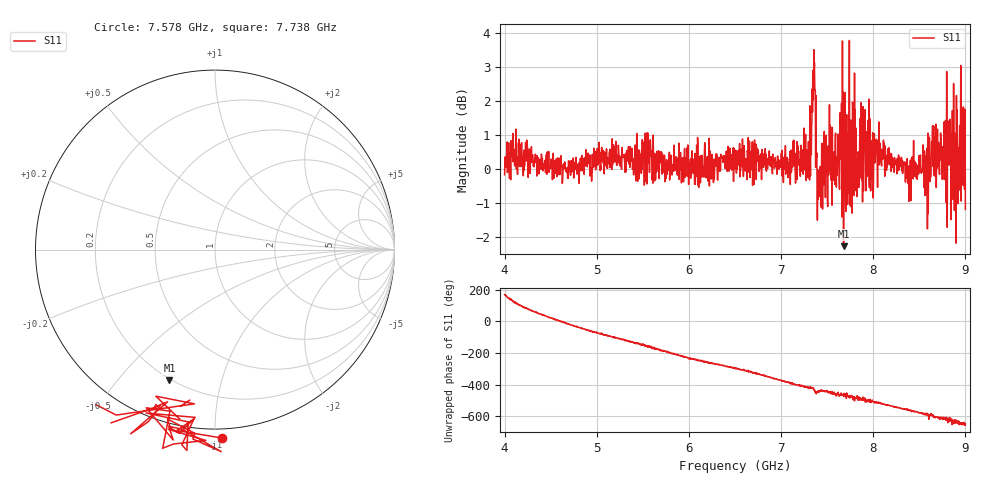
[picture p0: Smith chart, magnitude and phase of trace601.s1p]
! Created with skrf 1.8.0 (http://scikit-rf.org).
# Hz S RI R 50.0
!freq ReS11 ImS11
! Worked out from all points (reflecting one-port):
!   1601 points, 4 GHz to 9 GHz, reference 50 ohm
!   lowest |S11| = -2.3 dB at 7.678 GHz (marker M1), VSWR 7.73, Z = 9.65 - j34.6 ohm
!   phase of S11 starts at 170 deg and turns -818 deg over the sweep
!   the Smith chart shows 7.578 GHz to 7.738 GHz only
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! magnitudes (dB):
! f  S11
! 4 GHz  -0.2
! 4.1 GHz  0.6
! 4.625 GHz  -0.4
! 5.25 GHz  0.2
! 5.875 GHz  -0.2
! 6.5 GHz  0.0
! 7.125 GHz  0.1
! 7.294 GHz  -0.3
! 7.356 GHz  3.5
! 7.412 GHz  -0.6
! 7.512 GHz  0.7
! 7.575 GHz  0.5
! 7.662 GHz  -1.0
! 7.678 GHz  -2.3
! 7.75 GHz  -1.1
! 7.769 GHz  -0.4
! 7.8 GHz  -0.6
! 7.841 GHz  -0.5
! 7.928 GHz  0.9
! 7.981 GHz  -0.3
! 8.088 GHz  0.2
! 8.375 GHz  0.0
! 8.578 GHz  -0.7
! 8.656 GHz  1.3
! 8.906 GHz  0.7
! 8.956 GHz  0.2
! 8.972 GHz  0.9
! 9 GHz  -1.2
